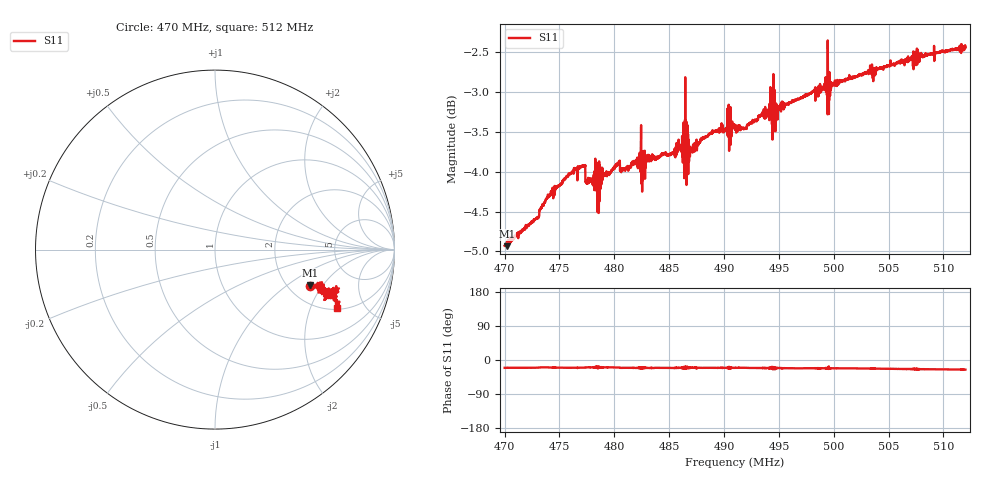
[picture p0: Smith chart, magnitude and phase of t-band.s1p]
! Calibrated averaged scanner-service zoom
# Hz S RI R 50
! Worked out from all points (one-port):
!   4001 points, 470 MHz to 512 MHz, reference 50 ohm
!   lowest |S11| = -4.9 dB at 470.2 MHz (marker M1), VSWR 3.62, Z = 131 - j76.6 ohm
!   |S11| at or under -10 dB: nowhere
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4.7e8  0.5303 -0.2008
4.70231e8  0.5305 -0.1991
4.7294e8  0.5535 -0.2046
4.735595e8  0.5662 -0.2009
4.7525e8  0.5814 -0.2164
4.7714e8  0.5966 -0.2207
4.775705e8  0.5871 -0.2044
4.78442e8  0.5719 -0.1852
4.8029e8  0.6013 -0.216
4.805e8  0.6032 -0.218
4.807205e8  0.5928 -0.2231
4.824005e8  0.5871 -0.2401
4.83881e8  0.6035 -0.2275
4.8575e8  0.6069 -0.2332
4.86233e8  0.6126 -0.2267
4.866635e8  0.6369 -0.2237
4.880705e8  0.6201 -0.2342
4.91e8  0.6314 -0.2391
4.918715e8  0.6287 -0.2357
4.9331e8  0.6382 -0.247
4.94381e8  0.6417 -0.2582
4.9457e8  0.639 -0.2595
4.9625e8  0.6492 -0.258
4.99253e8  0.6622 -0.255
4.996835e8  0.6677 -0.2643
5.015e8  0.67 -0.2711
5.0675e8  0.6821 -0.2962
5.12e8  0.6819 -0.325
